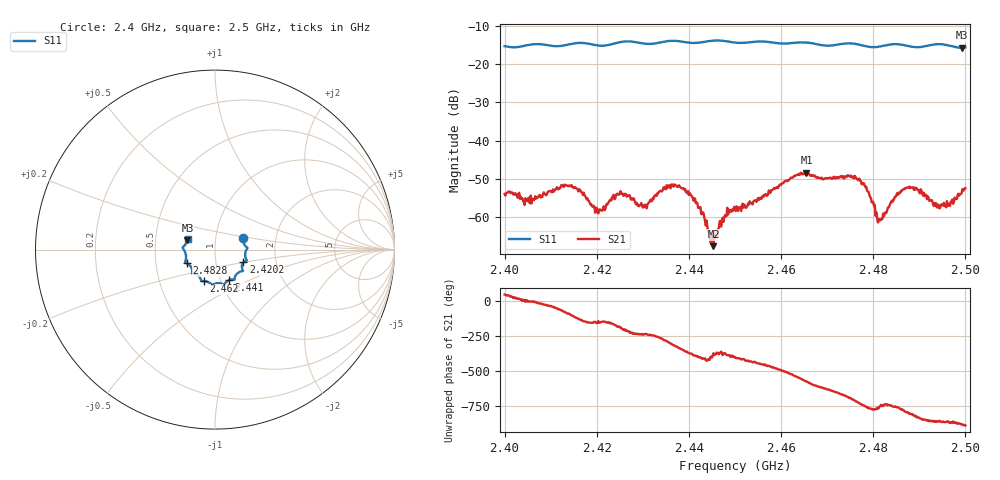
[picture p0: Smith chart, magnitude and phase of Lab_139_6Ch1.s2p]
# Hz S RI R 50
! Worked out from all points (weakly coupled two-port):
!   601 points, 2.4 GHz to 2.5 GHz, reference 50 ohm
!   highest |S21| = -48.35 dB at 2.4655 GHz (marker M1); lowest = -67.6 dB at 2.4453 GHz (marker M2)
!   lowest |S11| = -15.8 dB at 2.4993 GHz (marker M3), VSWR 1.39, Z = 36.5 + j3.85 ohm
!   |S11| at or under -10 dB: start of sweep to end of sweep
!   S12 and S22 are empty: the file has one direction only
!   S11 on the Smith chart (normalised r, x): 2.4 GHz: 1.36, +0.18; 2.4202 GHz: 1.36, -0.20; 2.441 GHz: 1.10, -0.39; 2.462 GHz: 0.84, -0.30; 2.4828 GHz: 0.72, -0.11; 2.5 GHz: 0.73, +0.09
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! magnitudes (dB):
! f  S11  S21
! 2.4 GHz  -15.4  -53.9
! 2.4167 GHz  -14.5  -53.4
! 2.4202 GHz  -15.2  -58.5
! 2.4247 GHz  -14.4  -54.1
! 2.4303 GHz  -14.7  -57.4
! 2.4333 GHz  -14.5  -53.8
! 2.4367 GHz  -14.0  -52.0
! 2.441 GHz  -14.6  -55.7
! 2.4453 GHz  -13.9  -67.6
! 2.45 GHz  -14.4  -57.7
! 2.462 GHz  -14.6  -49.9
! 2.4655 GHz  -14.4  -48.4
! 2.4667 GHz  -14.6  -49.2
! 2.4765 GHz  -14.9  -50.0
! 2.4785 GHz  -15.4  -52.0
! 2.481 GHz  -15.6  -61.4
! 2.4828 GHz  -15.1  -58.9
! 2.4833 GHz  -15.0  -57.5
! 2.4873 GHz  -15.3  -52.3
! 2.4943 GHz  -14.9  -57.7
! 2.4993 GHz  -15.8  -52.7
! 2.5 GHz  -15.7  -52.4
